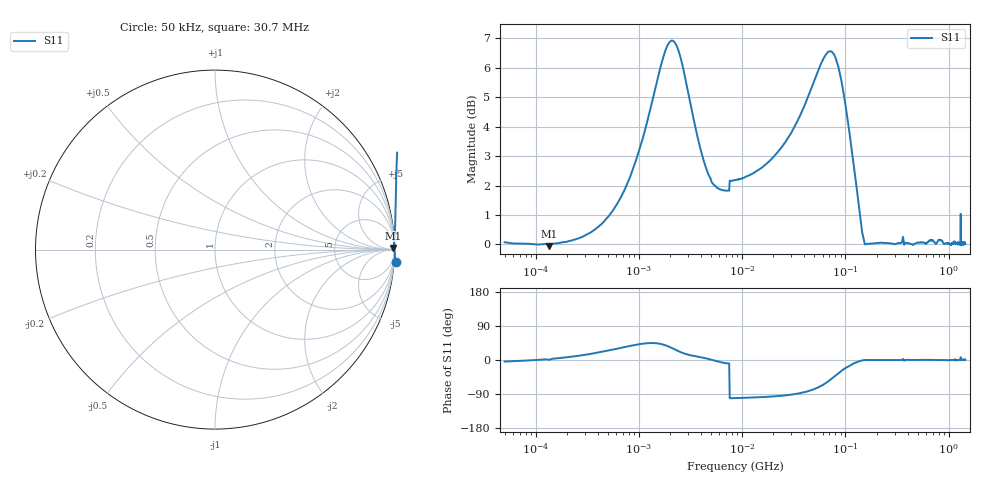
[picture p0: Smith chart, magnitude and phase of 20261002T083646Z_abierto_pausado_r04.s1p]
! piloto_saltos / abierto_pausado / r04
# HZ S RI R 50
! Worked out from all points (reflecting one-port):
!   501 points, 50 kHz to 1.45 GHz, reference 50 ohm
!   lowest |S11| = -0.1 dB at 135.5 kHz (marker M1), VSWR 295.80, Z = 5.32e+03 + j7.1e+03 ohm
!   phase of S11 starts at -4 deg and turns +5 deg over the sweep
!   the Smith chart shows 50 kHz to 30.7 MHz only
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50000  1.006 -0.0705
135500  0.9932 0.00895
183000  1.003 0.1047
373000  1.008 0.3272
658000  1.019 0.6279
1180000  1.146 1.111
1630000  1.489 1.354
1990000  1.829 1.24
2440000  1.959 0.8165
3430000  1.588 0.2957
4870000  1.298 0.0441
7300000  1.22 -0.1921
7750000  -0.241 -1.26
8560000  -0.234 -1.266
1.81e7  -0.1672 -1.372
3.16e7  -0.0114 -1.577
4.69e7  0.3396 -1.812
5.68e7  0.6973 -1.888
6.49e7  1.044 -1.827
7.39e7  1.397 -1.599
8.65e7  1.652 -1.098
9.82e7  1.626 -0.674
1e8  1.61 -0.621
1.18e8  1.377 -0.2445
1.36e8  1.148 -0.0679
1.63e8  1.002 -0.000165
4.06e8  1.006 0.0177
1.45e9  1.002 0.0134
